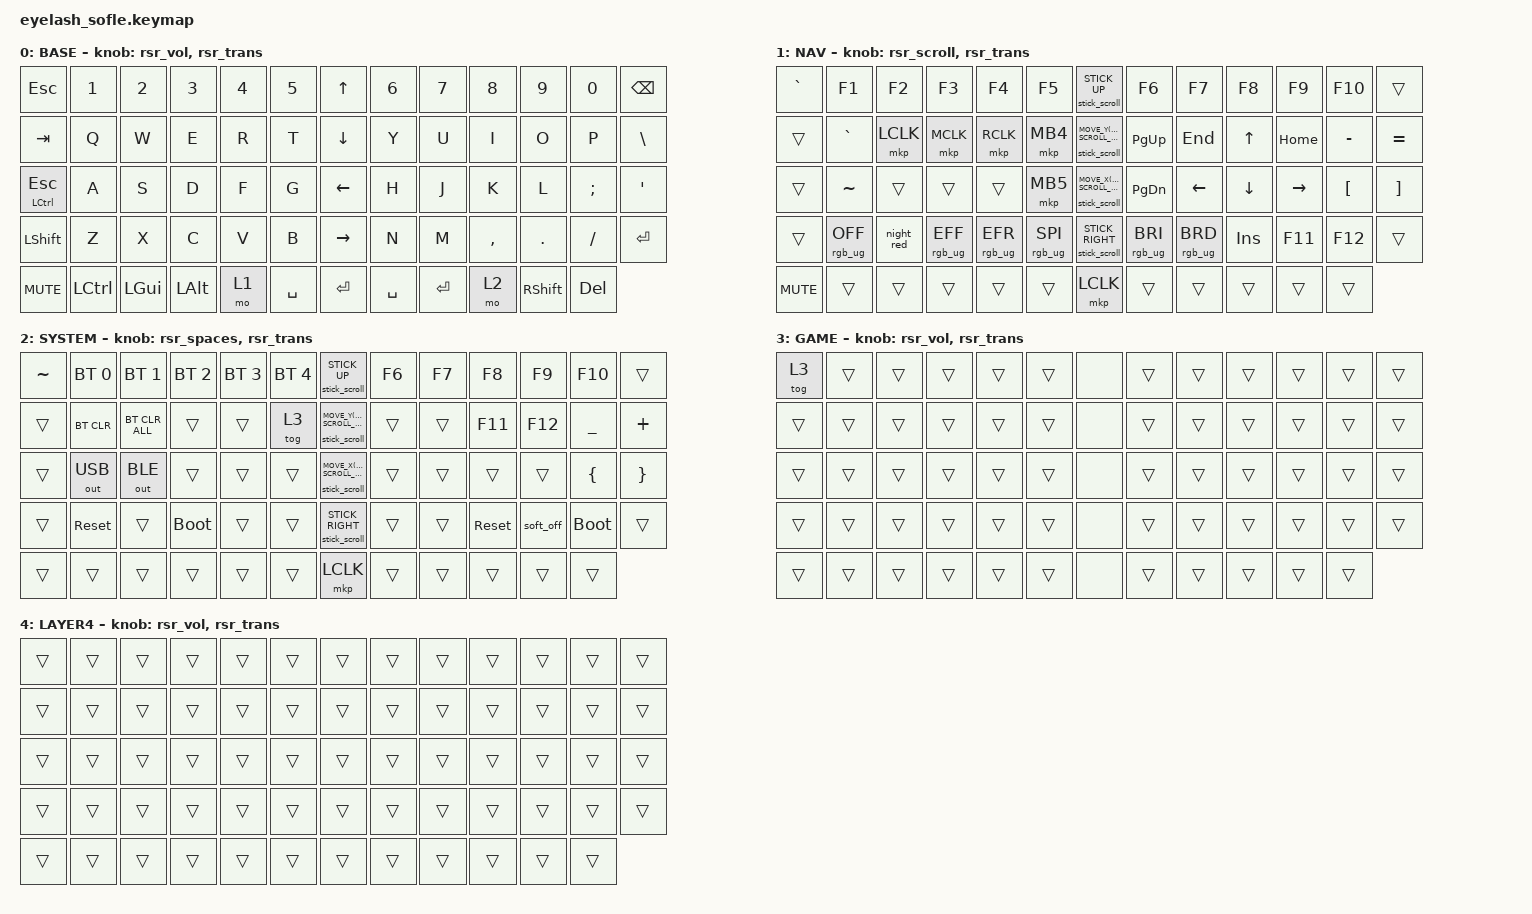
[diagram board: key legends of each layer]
// Joystick scrolling on layers 1 and 2, in wheel steps per second while held (a quick tap sends
// one or two). The overall speed can also be tuned live in DYA Studio ("scroll" processor).
// Directions are reversed for macOS natural scrolling, which inverts wheel input: pushing the
// stick up scrolls the page up, like the arrow keys.
#define STICK_SCROLL_SPEED 20
#define STICK_UP MOVE_Y(-STICK_SCROLL_SPEED)
#define STICK_DOWN MOVE_Y(STICK_SCROLL_SPEED)
#define STICK_LEFT MOVE_X(STICK_SCROLL_SPEED)
#define STICK_RIGHT MOVE_X(-STICK_SCROLL_SPEED)

// Knob scroll speed (ZMK default 10). At 63/s one 16ms tick per knob click sends 1 wheel unit.
#define ZMK_POINTING_DEFAULT_SCRL_VAL 63

#include <input/processors.dtsi>
#include <zephyr/dt-bindings/input/input-event-codes.h>
#include <behaviors.dtsi>
#include <behaviors/runtime-sensor-rotate.dtsi>
#include <dt-bindings/zmk/bt.h>
#include <dt-bindings/zmk/keys.h>
#include <dt-bindings/zmk/outputs.h>
#include <dt-bindings/zmk/pointing.h>
#include <dt-bindings/zmk/rgb.h>

// Constant speed, so each knob click scrolls the same amount.
&msc {
    acceleration-exponent = <0>;
    time-to-max-speed-ms = <100>;
    delay-ms = <0>;
};


&soft_off { hold-time-ms = <2000>; };

/ {
    // Sends the joystick's scroll events. Its speed multiplier is attached in
    // boards/shields/eyelash_sofle/eyelash_sofle_left.overlay (left half only).
    stick_scroll_input_listener: stick_scroll_input_listener {
        compatible = "zmk,input-listener";
        device = <&stick_scroll>;
    };

    scroll_encoder: scroll_encoder {
        compatible = "zmk,behavior-sensor-rotate";
        #sensor-binding-cells = <0>;
        bindings = <&msc SCRL_DOWN>, <&msc SCRL_UP>;

        tap-ms = <100>;
    };

    behaviors {
        // Caps Lock key: Esc on tap, Ctrl on hold. "balanced" only picks Ctrl when another key
        // is pressed *and released* while it's held, so fast typing rolls still give Esc.
        esc_ctrl: esc_ctrl {
            compatible = "zmk,behavior-hold-tap";
            #binding-cells = <2>;
            flavor = "balanced";
            tapping-term-ms = <200>;
            quick-tap-ms = <150>;
            bindings = <&kp>, <&kp>;
        };

        rsr_vol: rsr_vol {
            compatible = "zmk,behavior-runtime-sensor-rotate";
            #sensor-binding-cells = <0>;
            tap-ms = <5>;
            cw-binding = <&kp C_VOL_UP>;
            ccw-binding = <&kp C_VOL_DN>;
        };

        // Joystick scroll: constant speed, so holding a direction scrolls steadily.
        stick_scroll: stick_scroll {
            compatible = "zmk,behavior-input-two-axis";
            #binding-cells = <1>;
            x-input-code = <INPUT_REL_HWHEEL>;
            y-input-code = <INPUT_REL_WHEEL>;
            time-to-max-speed-ms = <100>;
            acceleration-exponent = <0>;
        };

        // Knob scroll. Held for 24ms per click: long enough for exactly one 16ms mouse tick,
        // short enough that fast spins don't queue up and keep scrolling after you stop.
        rsr_scroll: rsr_scroll {
            compatible = "zmk,behavior-runtime-sensor-rotate";
            #sensor-binding-cells = <0>;
            tap-ms = <24>;
            cw-binding = <&msc SCRL_DOWN>;
            ccw-binding = <&msc SCRL_UP>;
        };

        // Knob on layer 2: Ctrl+Left/Right, which moves between Spaces and full-screen apps on macOS
        rsr_spaces: rsr_spaces {
            compatible = "zmk,behavior-runtime-sensor-rotate";
            #sensor-binding-cells = <0>;
            tap-ms = <10>;
            cw-binding = <&kp LC(RIGHT)>;
            ccw-binding = <&kp LC(LEFT)>;
        };

        rsr_trans: rsr_trans {
            compatible = "zmk,behavior-runtime-sensor-rotate";
            #sensor-binding-cells = <0>;
            tap-ms = <0>;
        };
    };

    combos {
        compatible = "zmk,combos";

        softoff {
            bindings = <&soft_off>;
            key-positions = <14 28 40>;
        };

        // Both Shifts: Caps Word (capitalises until a space or punctuation; keeps underscores)
        caps_word {
            bindings = <&caps_word>;
            key-positions = <39 62>;
        };
    };

    macros {
        // Underglow on in solid red at 40% brightness, whatever mode it was left in.
        // RGB is a global behaviour, so this reaches the right half's LEDs too.
        night_red: night_red {
            compatible = "zmk,behavior-macro";
            #binding-cells = <0>;
            wait-ms = <0>;
            tap-ms = <0>;
            bindings =
                <&rgb_ug RGB_ON>,
                <&rgb_ug RGB_EFS_CMD 0>,
                <&rgb_ug RGB_COLOR_HSB(0,100,40)>;
        };

        SHIFT_MCLK: SHIFT_MCLK {
            compatible = "zmk,behavior-macro";
            #binding-cells = <0>;
            bindings =
                <&macro_press>,
                <&kp LEFT_SHIFT>,
                <&macro_press>,
                <&mkp MB3>,
                <&macro_pause_for_release>,
                <&macro_release>,
                <&kp LEFT_SHIFT &mkp MB3>;

            label = "SHIFT_MCLK";
        };
    };

    keymap {
        compatible = "zmk,keymap";

        layer0 {
            bindings = <
&kp ESC     &kp N1     &kp N2        &kp N3        &kp N4  &kp N5       &kp UP_ARROW     &kp N6     &kp N7     &kp N8     &kp N9           &kp N0      &kp BACKSPACE
&kp TAB     &kp Q      &kp W         &kp E         &kp R   &kp T        &kp DOWN_ARROW   &kp Y      &kp U      &kp I      &kp O            &kp P       &kp BSLH
&esc_ctrl LCTRL ESC  &kp A      &kp S         &kp D         &kp F   &kp G        &kp LEFT_ARROW   &kp H      &kp J      &kp K      &kp L            &kp SEMI    &kp APOS
&kp LSHFT   &kp Z      &kp X         &kp C         &kp V   &kp B        &kp RIGHT_ARROW  &kp N      &kp M      &kp COMMA  &kp DOT          &kp FSLH    &kp ENTER
&kp C_MUTE  &kp LCTRL  &kp LEFT_GUI  &kp LEFT_ALT  &mo 1   &kp SPACE    &kp ENTER        &kp SPACE  &kp ENTER  &mo 2      &kp RIGHT_SHIFT  &kp DELETE
            >;

            sensor-bindings = <&rsr_vol &rsr_trans>;
            display-name = "BASE";
        };

        layer_1 {
            bindings = <
&kp GRAVE   &kp F1           &kp F2          &kp F3           &kp F4           &kp F5             &stick_scroll STICK_UP     &kp F6           &kp F7           &kp F8      &kp F9     &kp F10           &trans
&trans      &kp GRAVE        &mkp LCLK       &mkp MCLK        &mkp RCLK        &mkp MB4           &stick_scroll STICK_DOWN   &kp PG_UP        &kp END          &kp UP      &kp HOME   &kp MINUS         &kp EQUAL
&trans      &kp TILDE        &trans          &trans           &trans           &mkp MB5           &stick_scroll STICK_LEFT   &kp PG_DN        &kp LEFT         &kp DOWN    &kp RIGHT  &kp LEFT_BRACKET  &kp RIGHT_BRACKET
&trans      &rgb_ug RGB_OFF  &night_red      &rgb_ug RGB_EFF  &rgb_ug RGB_EFR  &rgb_ug RGB_SPI    &stick_scroll STICK_RIGHT  &rgb_ug RGB_BRI  &rgb_ug RGB_BRD  &kp INSERT  &kp F11    &kp F12           &trans
&kp C_MUTE  &trans           &trans          &trans           &trans           &trans             &mkp LCLK        &trans           &trans           &trans      &trans     &trans
            >;

            sensor-bindings = <&rsr_scroll &rsr_trans>;
            display-name = "NAV";
        };

        layer_2 {
            bindings = <
&kp TILDE  &bt BT_SEL 0  &bt BT_SEL 1    &bt BT_SEL 2  &bt BT_SEL 3  &bt BT_SEL 4    &stick_scroll STICK_UP     &kp F6  &kp F7  &kp F8      &kp F9     &kp F10      &trans
&trans     &bt BT_CLR    &bt BT_CLR_ALL  &trans        &trans        &tog 3          &stick_scroll STICK_DOWN   &trans  &trans  &kp F11     &kp F12    &kp UNDER    &kp PLUS
&trans     &out OUT_USB  &out OUT_BLE    &trans        &trans        &trans          &stick_scroll STICK_LEFT   &trans  &trans  &trans      &trans     &kp LBRC     &kp RBRC
&trans     &sys_reset    &trans          &bootloader   &trans        &trans          &stick_scroll STICK_RIGHT  &trans  &trans  &sys_reset  &soft_off  &bootloader  &trans
&trans     &trans        &trans          &trans        &trans        &trans          &mkp LCLK        &trans  &trans  &trans      &trans     &trans
            >;

            display-name = "SYSTEM";
            sensor-bindings = <&rsr_spaces &rsr_trans>;
        };

        layer_3 {
            // Tetris on the right screen (L2+T toggles this layer, Esc leaves it). The joystick
            // plays, so it sends nothing here; everything else falls through.
            bindings = <
&tog 3  &trans  &trans  &trans  &trans  &trans    &none   &trans  &trans  &trans  &trans  &trans  &trans
&trans  &trans  &trans  &trans  &trans  &trans    &none   &trans  &trans  &trans  &trans  &trans  &trans
&trans  &trans  &trans  &trans  &trans  &trans    &none   &trans  &trans  &trans  &trans  &trans  &trans
&trans  &trans  &trans  &trans  &trans  &trans    &none   &trans  &trans  &trans  &trans  &trans  &trans
&trans  &trans  &trans  &trans  &trans  &trans    &none   &trans  &trans  &trans  &trans  &trans
            >;

            display-name = "GAME";
            sensor-bindings = <&rsr_vol &rsr_trans>;
        };

        layer_4 {
            bindings = <
&trans  &trans  &trans  &trans  &trans  &trans    &trans  &trans  &trans  &trans  &trans  &trans  &trans
&trans  &trans  &trans  &trans  &trans  &trans    &trans  &trans  &trans  &trans  &trans  &trans  &trans
&trans  &trans  &trans  &trans  &trans  &trans    &trans  &trans  &trans  &trans  &trans  &trans  &trans
&trans  &trans  &trans  &trans  &trans  &trans    &trans  &trans  &trans  &trans  &trans  &trans  &trans
&trans  &trans  &trans  &trans  &trans  &trans    &trans  &trans  &trans  &trans  &trans  &trans
            >;

            display-name = "LAYER4";
            sensor-bindings = <&rsr_vol &rsr_trans>;
        };
    };
};
